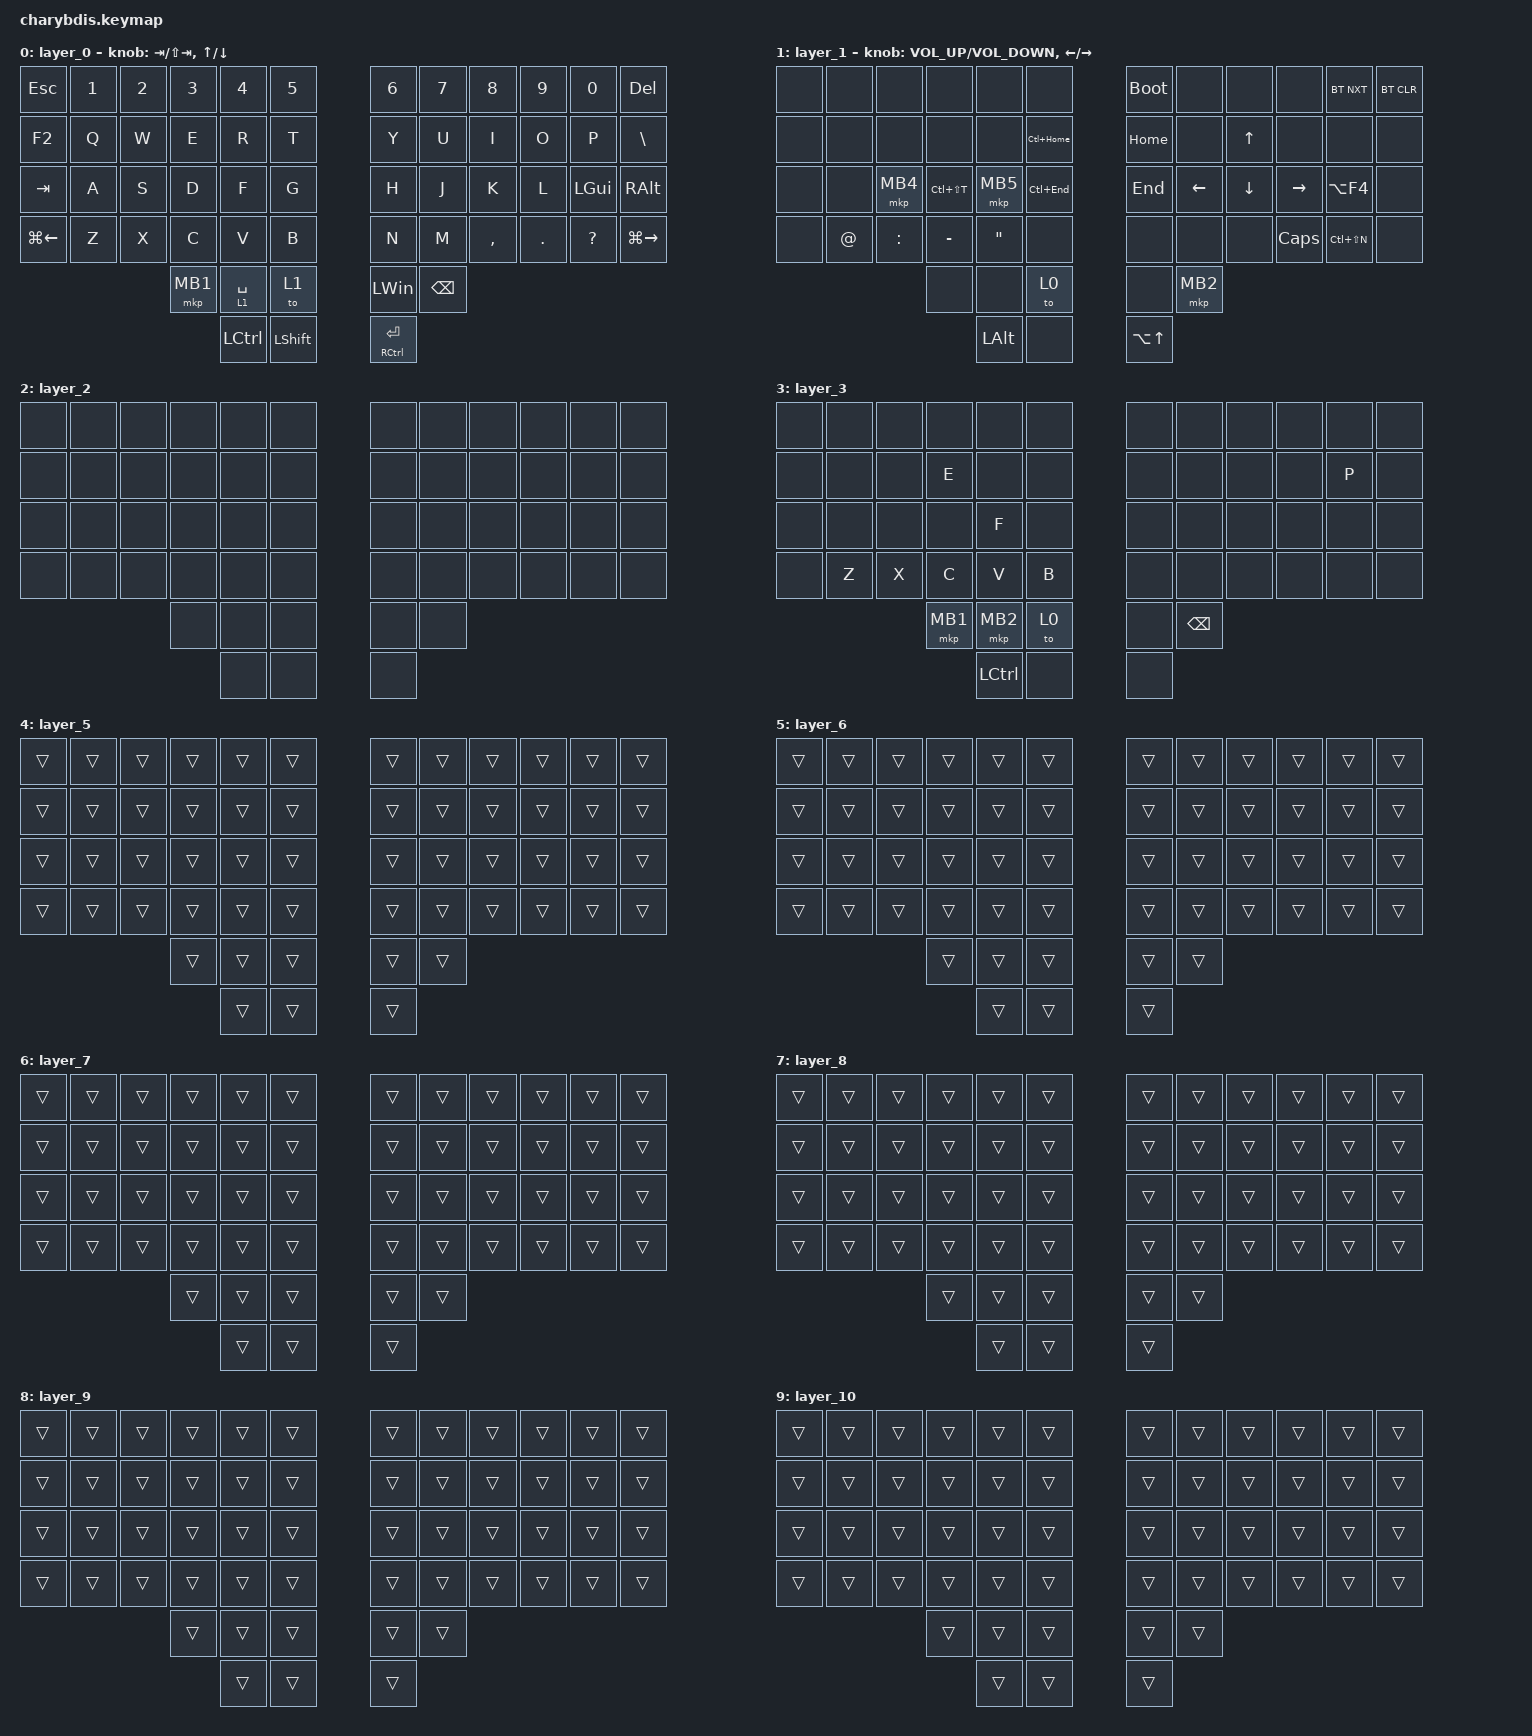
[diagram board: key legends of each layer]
#define ZMK_POINTING_DEFAULT_SCRL_VAL 25

#include <dt-bindings/zmk/mouse.h>
#include <input/processors.dtsi>
#include <zephyr/dt-bindings/input/input-event-codes.h>
#include <behaviors.dtsi>
#include <dt-bindings/zmk/bt.h>
#include <dt-bindings/zmk/keys.h>
#include <dt-bindings/zmk/pointing.h>
#include <dt-bindings/zmk/rgb.h>

&lt {
    tapping-term-ms = <200>;
    flavor = "balanced";
    quick-tap-ms = <150>;
};

&msc {
    acceleration-exponent = <0>;      // 0
    time-to-max-speed-ms = <30>;       // 300
    delay-ms = <0>;                   // 0
};

/ {
    // 上下滚动编码器行为

    scroll_vertical_encoder: scroll_vertical_encoder {
        compatible = "zmk,behavior-sensor-rotate";
        #sensor-binding-cells = <0>;
        bindings = <&msc SCRL_DOWN>, <&msc SCRL_UP>;

        tap-ms = <64>;
    };

    // 左右滚动编码器行为

    scroll_horizontal_encoder: scroll_horizontal_encoder {
        compatible = "zmk,behavior-sensor-rotate";
        #sensor-binding-cells = <0>;
        bindings = <&msc SCRL_LEFT>, <&msc SCRL_RIGHT>;

        tap-ms = <64>;
    };

    behaviors {
    };

    macros {
        To1_macro: To1_macro {
            compatible = "zmk,behavior-macro";
            label = "To1_macro";
            #binding-cells = <0>;
            bindings = <&rgb_ug RGB_EFF &rgb_ug RGB_COLOR_HSB(128,100,50) &to 1>;
        };

        To1_macro_A: To1_macro_A {
            compatible = "zmk,behavior-macro";
            label = "To1_macro_A";
            #binding-cells = <0>;
            bindings = <&rgb_ug RGB_COLOR_HSB(128,100,50) &to 1>;
        };

        To0_macro: To0_macro {
            compatible = "zmk,behavior-macro";
            label = "To0_macro";
            #binding-cells = <0>;
            bindings = <&rgb_ug RGB_EFR &to 0>;
        };

        To2_macro_A: To2_macro_A {
            compatible = "zmk,behavior-macro";
            label = "To2_macro_A";
            #binding-cells = <0>;
            bindings = <&rgb_ug RGB_COLOR_HSB(250,100,50) &to 0>;
        };

        To2_macro: To2_macro {
            compatible = "zmk,behavior-macro";
            label = "To2_macro";
            #binding-cells = <0>;
            bindings = <&rgb_ug RGB_EFF &rgb_ug RGB_COLOR_HSB(250,100,50) &to 0>;
        };
    };

    keymap {
        compatible = "zmk,keymap";

        layer_0 {
            bindings = <
&kp ESC             &kp N1  &kp N2  &kp N3    &kp N4            &kp N5            &kp N6                   &kp N7         &kp N8     &kp N9      &kp N0        &kp DEL
&kp F2              &kp Q   &kp W   &kp E     &kp R             &kp T             &kp Y                    &kp U          &kp I      &kp O       &kp P         &kp BSLH
&kp TAB             &kp A   &kp S   &kp D     &kp F             &kp G             &kp H                    &kp J          &kp K      &kp L       &kp LEFT_GUI  &kp RIGHT_ALT
&kp LG(LEFT_ARROW)  &kp Z   &kp X   &kp C     &kp V             &kp B             &kp N                    &kp M          &kp COMMA  &kp PERIOD  &kp QUESTION  &kp LG(RIGHT_ARROW)
                                    &mkp MB1  &lt 1 SPACE       &to 1             &kp LWIN                 &kp BACKSPACE
                                              &kp LEFT_CONTROL  &kp LEFT_SHIFT    &mt RIGHT_CONTROL ENTER
            >;

            sensor-bindings = <&inc_dec_kp TAB LS(TAB) &inc_dec_kp UP DOWN>;
        };

        layer_1 {
            bindings = <
&none  &none        &none      &none          &none              &none           &bootloader  &none     &none     &none      &bt BT_NXT     &bt BT_CLR
&none  &none        &none      &none          &none              &kp LC(HOME)    &kp HOME     &none     &kp UP    &none      &none          &none
&none  &none        &mkp MB4   &kp LC(LS(T))  &mkp MB5           &kp LC(END)     &kp END      &kp LEFT  &kp DOWN  &kp RIGHT  &kp LA(F4)     &none
&none  &kp AT_SIGN  &kp COLON  &kp MINUS      &kp DOUBLE_QUOTES  &none           &none        &none     &none     &kp CAPS   &kp LC(LS(N))  &none
                               &none          &none              &to 0           &none        &mkp MB2
                                              &kp LEFT_ALT       &none           &kp LA(UP)
            >;

            sensor-bindings =
                <&inc_dec_kp C_VOLUME_UP C_VOLUME_DOWN &inc_dec_kp LEFT RIGHT>;
        };

        layer_2 {
            bindings = <
&none  &none  &none  &none  &none  &none    &none  &none  &none  &none  &none  &none
&none  &none  &none  &none  &none  &none    &none  &none  &none  &none  &none  &none
&none  &none  &none  &none  &none  &none    &none  &none  &none  &none  &none  &none
&none  &none  &none  &none  &none  &none    &none  &none  &none  &none  &none  &none
                     &none  &none  &none    &none  &none
                            &none  &none    &none
            >;
        };

        layer_3 {
            bindings = <
&none  &none  &none  &none     &none             &none    &none  &none          &none  &none  &none  &none
&none  &none  &none  &kp E     &none             &none    &none  &none          &none  &none  &kp P  &none
&none  &none  &none  &none     &kp F             &none    &none  &none          &none  &none  &none  &none
&none  &kp Z  &kp X  &kp C     &kp V             &kp B    &none  &none          &none  &none  &none  &none
                     &mkp MB1  &mkp MB2          &to 0    &none  &kp BACKSPACE
                               &kp LEFT_CONTROL  &none    &none
            >;
        };

        layer_5 {
            bindings = <
&trans  &trans  &trans  &trans  &trans  &trans    &trans  &trans  &trans  &trans  &trans  &trans
&trans  &trans  &trans  &trans  &trans  &trans    &trans  &trans  &trans  &trans  &trans  &trans
&trans  &trans  &trans  &trans  &trans  &trans    &trans  &trans  &trans  &trans  &trans  &trans
&trans  &trans  &trans  &trans  &trans  &trans    &trans  &trans  &trans  &trans  &trans  &trans
                        &trans  &trans  &trans    &trans  &trans
                                &trans  &trans    &trans
            >;
        };

        layer_6 {
            bindings = <
&trans  &trans  &trans  &trans  &trans  &trans    &trans  &trans  &trans  &trans  &trans  &trans
&trans  &trans  &trans  &trans  &trans  &trans    &trans  &trans  &trans  &trans  &trans  &trans
&trans  &trans  &trans  &trans  &trans  &trans    &trans  &trans  &trans  &trans  &trans  &trans
&trans  &trans  &trans  &trans  &trans  &trans    &trans  &trans  &trans  &trans  &trans  &trans
                        &trans  &trans  &trans    &trans  &trans
                                &trans  &trans    &trans
            >;
        };

        layer_7 {
            bindings = <
&trans  &trans  &trans  &trans  &trans  &trans    &trans  &trans  &trans  &trans  &trans  &trans
&trans  &trans  &trans  &trans  &trans  &trans    &trans  &trans  &trans  &trans  &trans  &trans
&trans  &trans  &trans  &trans  &trans  &trans    &trans  &trans  &trans  &trans  &trans  &trans
&trans  &trans  &trans  &trans  &trans  &trans    &trans  &trans  &trans  &trans  &trans  &trans
                        &trans  &trans  &trans    &trans  &trans
                                &trans  &trans    &trans
            >;
        };

        layer_8 {
            bindings = <
&trans  &trans  &trans  &trans  &trans  &trans    &trans  &trans  &trans  &trans  &trans  &trans
&trans  &trans  &trans  &trans  &trans  &trans    &trans  &trans  &trans  &trans  &trans  &trans
&trans  &trans  &trans  &trans  &trans  &trans    &trans  &trans  &trans  &trans  &trans  &trans
&trans  &trans  &trans  &trans  &trans  &trans    &trans  &trans  &trans  &trans  &trans  &trans
                        &trans  &trans  &trans    &trans  &trans
                                &trans  &trans    &trans
            >;
        };

        layer_9 {
            bindings = <
&trans  &trans  &trans  &trans  &trans  &trans    &trans  &trans  &trans  &trans  &trans  &trans
&trans  &trans  &trans  &trans  &trans  &trans    &trans  &trans  &trans  &trans  &trans  &trans
&trans  &trans  &trans  &trans  &trans  &trans    &trans  &trans  &trans  &trans  &trans  &trans
&trans  &trans  &trans  &trans  &trans  &trans    &trans  &trans  &trans  &trans  &trans  &trans
                        &trans  &trans  &trans    &trans  &trans
                                &trans  &trans    &trans
            >;
        };

        layer_10 {
            bindings = <
&trans  &trans  &trans  &trans  &trans  &trans    &trans  &trans  &trans  &trans  &trans  &trans
&trans  &trans  &trans  &trans  &trans  &trans    &trans  &trans  &trans  &trans  &trans  &trans
&trans  &trans  &trans  &trans  &trans  &trans    &trans  &trans  &trans  &trans  &trans  &trans
&trans  &trans  &trans  &trans  &trans  &trans    &trans  &trans  &trans  &trans  &trans  &trans
                        &trans  &trans  &trans    &trans  &trans
                                &trans  &trans    &trans
            >;
        };

        /* layer_2 {
            bindings = <
&none  &none   &none    &none   &none         &none         &kp N1         &none         &none     &none  &none   &to 0
&none  &none   &none    &none   &none         &none         &none         &none          &rgb_ug RGB_BRD &rgb_ug RGB_BRI  &rgb_ug RGB_EFF   &rgb_ug RGB_TOG
&none  &none   &none    &none   &none         &none         &none         &mkp LCLK     &mkp RCLK  &none  &none   &none
&none  &none   &none    &none   &bt BT_NXT  &bt BT_CLR    &none         &none         &none     &none  &none   &none
                                   &none         &none         &none         &none         &none
                                                 &none         &none         &none
            >;
       
            
        };

       Mouse {
            bindings = <
&none        &none         &none         &none         &none      &none         &none       &none      &none         &none         &none         &none
&none        &bt BT_SEL 0  &bt BT_SEL 1  &bt BT_SEL 3  &none      &bt BT_CLR    &bt BT_CLR  &none      &bt BT_SEL 2  &bt BT_SEL 1  &bt BT_SEL 0  &none
&none        &trans        &trans        &mkp MCLK     &trans     &none         &none       &trans     &mkp MCLK     &trans        &trans        &none
&bootloader  &trans        &mkp RCLK     &mo 4         &mkp LCLK  &mo 5         &mo 5       &mkp LCLK  &mo 4         &mkp RCLK     &trans        &bootloader
                                         &mo 5         &mkp LCLK  &mkp RCLK     &mkp RCLK   &mkp LCLK
                                                       &none      &trans        &trans
            >;

            
        };

        layer_4 {
            bindings = <
&trans  &trans  &trans     &trans     &trans     &trans       &trans     &trans     &trans     &trans     &trans  &trans
&trans  &trans  &trans     &trans     &trans     &trans       &trans     &trans     &trans     &trans     &trans  &trans
&trans  &trans  &trans     &mkp MCLK  &trans     &trans       &trans     &trans     &mkp MCLK  &trans     &trans  &trans
&trans  &trans  &mkp RCLK  &trans     &mkp LCLK  &trans       &trans     &mkp LCLK  &trans     &mkp RCLK  &trans  &trans
                           &trans     &mkp LCLK  &mkp RCLK    &mkp RCLK  &mkp LCLK
                                      &trans     &trans       &trans
            >;
                
                
               
        };

        layer_5 {
            bindings = <
&trans  &trans  &trans     &trans     &trans     &trans       &trans     &trans     &trans     &trans     &trans  &trans
&trans  &trans  &trans     &trans     &trans     &trans       &trans     &trans     &trans     &trans     &trans  &trans
&trans  &trans  &trans     &mkp MCLK  &trans     &trans       &trans     &trans     &mkp MCLK  &trans     &trans  &trans
&trans  &trans  &mkp RCLK  &trans     &mkp LCLK  &trans       &trans     &mkp LCLK  &trans     &mkp RCLK  &trans  &trans
                           &trans     &mkp LCLK  &mkp RCLK    &mkp RCLK  &mkp LCLK
                                      &trans     &trans       &trans
            >;
                
                
        };*/
    };
};
